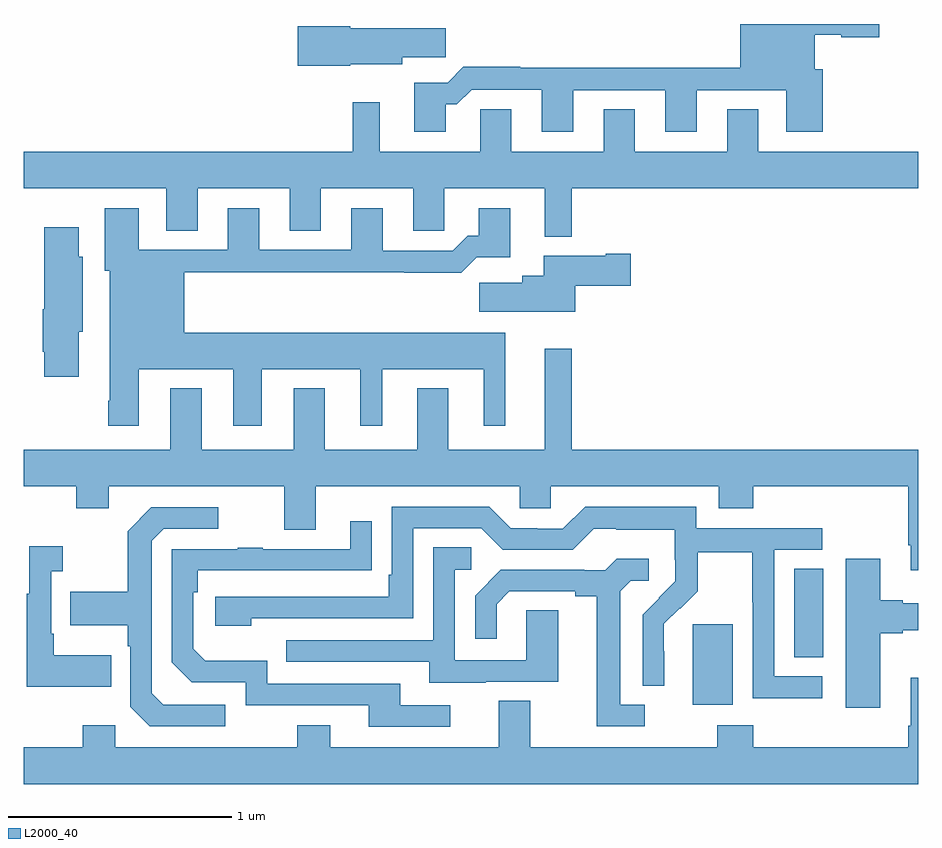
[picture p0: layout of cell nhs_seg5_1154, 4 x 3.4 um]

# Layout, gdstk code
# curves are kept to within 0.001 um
import gdstk
lib = gdstk.Library(unit=1e-6, precision=1e-09)
def R(c, l, rs):  # rectangles x0, y0, x1, y1
    for r in rs: c.add(gdstk.rectangle(r[:2], r[2:], *l))
def P(c, l, *ps):  # polygons
    for p in ps: c.add(gdstk.Polygon(p, *l))
L2000_40 = (2000, 40)

nhs_seg5_1154 = lib.new_cell('nhs_seg5_1154')
R(nhs_seg5_1154, L2000_40, [(183.992,883.754,184.171,884.115), (184.445,883.966,184.576,884.363)])
P(nhs_seg5_1154, L2000_40, [(182.887,886.439),(182.936,886.439),(183.003,886.506),(183.317,886.506),(183.317,886.317),(183.457,886.317),(183.457,886.503),(183.869,886.503),(183.869,886.317),(184.009,886.317),(184.009,886.503),(184.409,886.503),(184.409,886.317),(184.574,886.317),(184.574,886.596),(184.537,886.596),(184.537,886.751),(184.657,886.751),(184.657,886.739),(184.825,886.739),(184.825,886.799),(184.205,886.799),(184.205,886.604),(183.221,886.604),(183.221,886.607),(182.966,886.607),(182.896,886.537),(182.747,886.537),(182.747,886.317),(182.887,886.317)],
  [(182.46,886.619),(182.692,886.619),(182.692,886.651),(182.887,886.651),(182.887,886.78),(182.46,886.78),(182.46,886.79),(182.226,886.79),(182.226,886.612),(182.46,886.612)],
  [(183.451,886.064),(185,886.064),(185,886.228),(184.285,886.228),(184.285,886.418),(184.145,886.418),(184.145,886.228),(183.733,886.228),(183.733,886.418),(183.593,886.418),(183.593,886.228),(183.181,886.228),(183.181,886.418),(183.042,886.418),(183.042,886.228),(182.593,886.228),(182.593,886.45),(182.472,886.45),(182.472,886.228),(181,886.228),(181,886.064),(181.637,886.064),(181.637,885.874),(181.777,885.874),(181.777,886.064),(182.189,886.064),(182.189,885.874),(182.329,885.874),(182.329,886.064),(182.741,886.064),(182.741,885.874),(182.88,885.874),(182.88,886.064),(183.329,886.064),(183.329,885.848),(183.451,885.848)],
  [(181.513,885.254),(181.937,885.254),(181.937,885.003),(182.065,885.003),(182.065,885.254),(182.504,885.254),(182.504,885.003),(182.602,885.003),(182.602,885.254),(183.056,885.254),(183.056,885.003),(183.154,885.003),(183.154,885.418),(181.717,885.418),(181.717,885.688),(182.701,885.688),(182.701,885.686),(182.957,885.686),(183.026,885.755),(183.175,885.755),(183.175,885.976),(183.035,885.976),(183.035,885.853),(182.986,885.853),(182.919,885.786),(182.605,885.786),(182.605,885.976),(182.465,885.976),(182.465,885.789),(182.053,885.789),(182.053,885.976),(181.913,885.976),(181.913,885.789),(181.513,885.789),(181.513,885.976),(181.361,885.976),(181.361,885.696),(181.385,885.696),(181.385,885.115),(181.378,885.115),(181.378,885.003),(181.513,885.003)],
  [(181.246,885.423),(181.264,885.423),(181.264,885.759),(181.246,885.759),(181.246,885.889),(181.091,885.889),(181.091,885.523),(181.084,885.523),(181.084,885.334),(181.091,885.334),(181.091,885.222),(181.246,885.222)],
  [(183.466,885.629),(183.715,885.629),(183.715,885.771),(183.602,885.771),(183.602,885.763),(183.326,885.763),(183.326,885.673),(183.23,885.673),(183.23,885.641),(183.036,885.641),(183.036,885.512),(183.466,885.512)],
  [(183.451,885.346),(183.329,885.346),(183.329,884.896),(182.899,884.896),(182.899,885.169),(182.759,885.169),(182.759,884.896),(182.347,884.896),(182.347,885.169),(182.207,885.169),(182.207,884.896),(181.795,884.896),(181.795,885.169),(181.655,885.169),(181.655,884.896),(181,884.896),(181,884.732),(181.234,884.732),(181.234,884.633),(181.381,884.633),(181.381,884.732),(182.165,884.732),(182.165,884.538),(182.305,884.538),(182.305,884.732),(183.219,884.732),(183.219,884.634),(183.357,884.634),(183.357,884.732),(184.109,884.732),(184.109,884.633),(184.262,884.633),(184.262,884.732),(184.955,884.732),(184.955,884.467),(184.967,884.467),(184.967,884.355),(185,884.355),(185,884.896),(183.451,884.896)],
  [(184.57,883.881),(184.356,883.881),(184.356,884.448),(184.57,884.448),(184.57,884.544),(184.008,884.544),(184.008,884.641),(183.511,884.641),(183.411,884.541),(183.296,884.541),(183.296,884.544),(183.177,884.544),(183.081,884.64),(182.646,884.64),(182.646,884.335),(182.633,884.335),(182.633,884.238),(181.857,884.238),(181.857,884.108),(182.018,884.108),(182.018,884.142),(182.742,884.142),(182.742,884.544),(183.045,884.544),(183.141,884.448),(183.456,884.448),(183.549,884.541),(183.649,884.541),(183.649,884.537),(183.912,884.537),(183.912,884.403),(183.914,884.403),(183.914,884.306),(183.768,884.158),(183.768,883.84),(183.864,883.84),(183.863,884.117),(183.933,884.187),(183.936,884.184),(184.013,884.261),(184.013,884.436),(184.258,884.436),(184.258,884.212),(184.26,884.212),(184.26,883.783),(184.57,883.783)],
  [(181.9,883.755),(181.623,883.755),(181.572,883.806),(181.572,884.487),(181.626,884.541),(181.87,884.541),(181.87,884.637),(181.569,884.637),(181.464,884.531),(181.464,884.259),(181.207,884.259),(181.207,884.111),(181.464,884.111),(181.464,884.015),(181.476,884.015),(181.476,883.746),(181.563,883.659),(181.9,883.659)],
  [(182.908,883.752),(182.683,883.752),(182.683,883.848),(182.088,883.848),(182.088,883.951),(181.811,883.951),(181.758,884.004),(181.758,884.258),(181.778,884.258),(181.778,884.355),(182.555,884.356),(182.555,884.575),(182.459,884.575),(182.459,884.451),(182.069,884.451),(182.069,884.456),(181.957,884.456),(181.957,884.451),(181.662,884.451),(181.662,883.944),(181.752,883.854),(181.992,883.854),(181.992,883.752),(182.543,883.752),(182.543,883.656),(182.908,883.656)],
  [(181.391,883.975),(181.135,883.975),(181.135,884.071),(181.122,884.071),(181.122,884.351),(181.174,884.351),(181.174,884.464),(181.025,884.464),(181.025,884.251),(181.014,884.251),(181.014,883.835),(181.391,883.835)],
  [(183.067,883.857),(183.391,883.857),(183.391,884.177),(183.246,884.177),(183.246,883.953),(182.928,883.953),(182.928,884.358),(183.001,884.358),(183.001,884.459),(182.832,884.459),(182.832,884.043),(182.173,884.043),(182.173,883.947),(182.813,883.947),(182.813,883.853),(183.067,883.853)],
  [(184.831,884.075),(184.931,884.075),(184.931,884.087),(185,884.087),(185,884.209),(184.931,884.209),(184.931,884.222),(184.831,884.222),(184.831,884.407),(184.676,884.407),(184.676,883.74),(184.831,883.74)],
  [(183.778,883.755),(183.667,883.755),(183.667,884.263),(183.714,884.31),(183.796,884.31),(183.796,884.407),(183.652,884.407),(183.6,884.355),(183.506,884.355),(183.506,884.358),(183.134,884.358),(183.018,884.242),(183.018,884.049),(183.115,884.049),(183.115,884.205),(183.172,884.262),(183.467,884.262),(183.467,884.24),(183.563,884.24),(183.563,883.659),(183.778,883.659)],
  [(185,883.876),(184.967,883.876),(184.967,883.66),(184.955,883.66),(184.955,883.564),(184.262,883.564),(184.262,883.663),(184.102,883.663),(184.102,883.564),(183.265,883.564),(183.265,883.772),(183.125,883.772),(183.125,883.564),(182.371,883.564),(182.371,883.663),(182.224,883.663),(182.224,883.564),(181.41,883.564),(181.41,883.663),(181.264,883.663),(181.264,883.564),(181,883.564),(181,883.4),(185,883.4)])

lib.write_gds('nhs_seg5_1154.gds')
